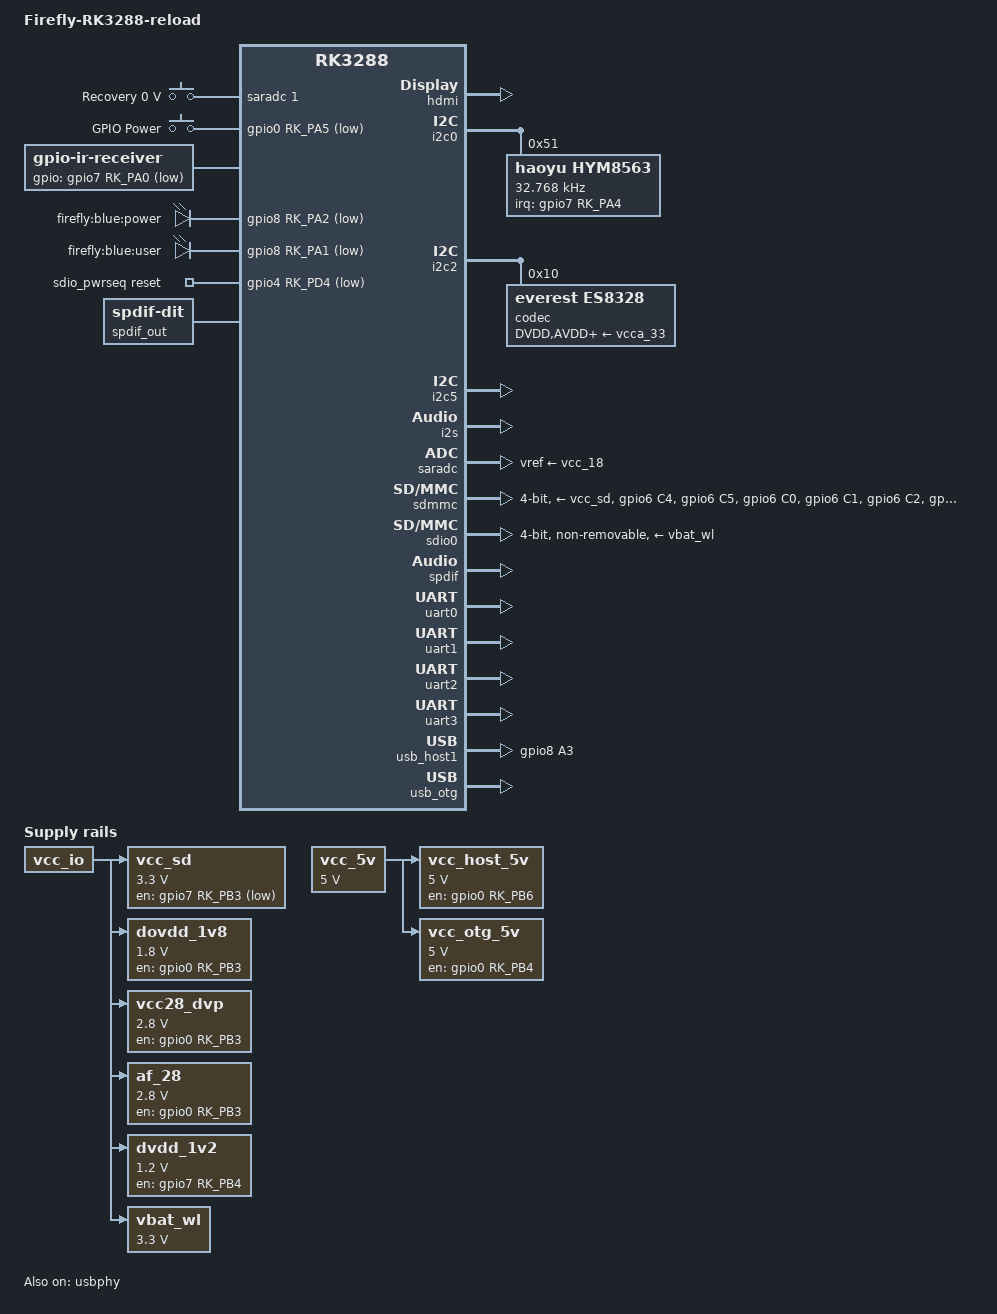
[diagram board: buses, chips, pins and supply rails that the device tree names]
// SPDX-License-Identifier: (GPL-2.0+ OR MIT)
/*
 * Device tree file for Firefly Rockchip RK3288 Core board
 * Copyright (c) 2016 Randy Li <ayaka@soulik.info>
 */

/dts-v1/;
#include "rk3288-firefly-reload-core.dtsi"

/ {
	model = "Firefly-RK3288-reload";
	compatible = "firefly,firefly-rk3288-reload", "rockchip,rk3288";

	adc-keys {
		compatible = "adc-keys";
		io-channels = <&saradc 1>;
		io-channel-names = "buttons";
		keyup-threshold-microvolt = <1800000>;

		button-recovery {
			label = "Recovery";
			linux,code = <KEY_VENDOR>;
			press-threshold-microvolt = <0>;
		};
	};

	gpio-keys {
		compatible = "gpio-keys";

		power {
			wakeup-source;
			gpios = <&gpio0 RK_PA5 GPIO_ACTIVE_LOW>;
			label = "GPIO Power";
			linux,code = <KEY_POWER>;
			pinctrl-names = "default";
			pinctrl-0 = <&pwr_key>;
		};
	};

	ir-receiver {
		compatible = "gpio-ir-receiver";
		gpios = <&gpio7 RK_PA0 GPIO_ACTIVE_LOW>;
	};

	leds {
		compatible = "gpio-leds";

		power {
			gpios = <&gpio8 RK_PA2 GPIO_ACTIVE_LOW>;
			label = "firefly:blue:power";
			pinctrl-names = "default";
			pinctrl-0 = <&power_led>;
			panic-indicator;
		};

		work {
			gpios = <&gpio8 RK_PA1 GPIO_ACTIVE_LOW>;
			label = "firefly:blue:user";
			linux,default-trigger = "rc-feedback";
			pinctrl-names = "default";
			pinctrl-0 = <&work_led>;
		};
	};

	sdio_pwrseq: sdio-pwrseq {
		compatible = "mmc-pwrseq-simple";
		clocks = <&hym8563>;
		clock-names = "ext_clock";
		pinctrl-names = "default";
		pinctrl-0 = <&wifi_enable>;
		reset-gpios = <&gpio4 RK_PD4 GPIO_ACTIVE_LOW>;
	};

	sound {
		compatible = "simple-audio-card";
		simple-audio-card,name = "SPDIF";
		simple-audio-card,dai-link@1 {  /* S/PDIF - S/PDIF */
			cpu { sound-dai = <&spdif>; };
			codec { sound-dai = <&spdif_out>; };
		};
	};

	spdif_out: spdif-out {
		compatible = "linux,spdif-dit";
		#sound-dai-cells = <0>;
	};

	vcc_host_5v: usb-host-regulator {
		compatible = "regulator-fixed";
		enable-active-high;
		gpio = <&gpio0 RK_PB6 GPIO_ACTIVE_HIGH>;
		pinctrl-names = "default";
		pinctrl-0 = <&host_vbus_drv>;
		regulator-name = "vcc_host_5v";
		regulator-min-microvolt = <5000000>;
		regulator-max-microvolt = <5000000>;
		regulator-always-on;
		vin-supply = <&vcc_5v>;
	};

	vcc_5v: vcc_sys: vsys-regulator {
		compatible = "regulator-fixed";
		regulator-name = "vcc_5v";
		regulator-min-microvolt = <5000000>;
		regulator-max-microvolt = <5000000>;
		regulator-always-on;
		regulator-boot-on;
	};

	vcc_sd: sdmmc-regulator {
		compatible = "regulator-fixed";
		gpio = <&gpio7 RK_PB3 GPIO_ACTIVE_LOW>;
		pinctrl-names = "default";
		pinctrl-0 = <&sdmmc_pwr>;
		regulator-name = "vcc_sd";
		regulator-min-microvolt = <3300000>;
		regulator-max-microvolt = <3300000>;
		startup-delay-us = <100000>;
		vin-supply = <&vcc_io>;
	};

	vcc_otg_5v: usb-otg-regulator {
		compatible = "regulator-fixed";
		enable-active-high;
		gpio = <&gpio0 RK_PB4 GPIO_ACTIVE_HIGH>;
		pinctrl-names = "default";
		pinctrl-0 = <&otg_vbus_drv>;
		regulator-name = "vcc_otg_5v";
		regulator-min-microvolt = <5000000>;
		regulator-max-microvolt = <5000000>;
		regulator-always-on;
		vin-supply = <&vcc_5v>;
	};

	dovdd_1v8: dovdd-1v8-regulator {
		compatible = "regulator-fixed";
		enable-active-high;
		gpio = <&gpio0 RK_PB3 GPIO_ACTIVE_HIGH>;
		pinctrl-names = "default";
		pinctrl-0 = <&dvp_pwr>;
		regulator-name = "dovdd_1v8";
		regulator-min-microvolt = <1800000>;
		regulator-max-microvolt = <1800000>;
		vin-supply = <&vcc_io>;
	};

	vcc28_dvp: vcc28-dvp-regulator {
		compatible = "regulator-fixed";
		enable-active-high;
		gpio = <&gpio0 RK_PB3 GPIO_ACTIVE_HIGH>;
		pinctrl-names = "default";
		pinctrl-0 = <&dvp_pwr>;
		regulator-name = "vcc28_dvp";
		regulator-min-microvolt = <2800000>;
		regulator-max-microvolt = <2800000>;
		vin-supply = <&vcc_io>;
	};

	af_28: af_28-regulator {
		compatible = "regulator-fixed";
		enable-active-high;
		gpio = <&gpio0 RK_PB3 GPIO_ACTIVE_HIGH>;
		pinctrl-names = "default";
		pinctrl-0 = <&dvp_pwr>;
		regulator-name = "af_28";
		regulator-min-microvolt = <2800000>;
		regulator-max-microvolt = <2800000>;
		vin-supply = <&vcc_io>;
	};

	dvdd_1v2: af_28-regulator {
		compatible = "regulator-fixed";
		enable-active-high;
		gpio = <&gpio7 RK_PB4 GPIO_ACTIVE_HIGH>;
		pinctrl-names = "default";
		pinctrl-0 = <&cif_pwr>;
		regulator-name = "dvdd_1v2";
		regulator-min-microvolt = <1200000>;
		regulator-max-microvolt = <1200000>;
		vin-supply = <&vcc_io>;
	};

	vbat_wl: wifi-regulator {
		compatible = "regulator-fixed";
		regulator-name = "vbat_wl";
		regulator-min-microvolt = <3300000>;
		regulator-max-microvolt = <3300000>;
		vin-supply = <&vcc_io>;
	};
};

&hdmi {
	ddc-i2c-bus = <&i2c5>;
	pinctrl-names = "default";
	pinctrl-0 = <&hdmi_cec_c0>;
	status = "okay";
};

&i2c0 {
	hym8563: hym8563@51 {
		compatible = "haoyu,hym8563";
		reg = <0x51>;
		#clock-cells = <0>;
		clock-frequency = <32768>;
		clock-output-names = "xin32k";
		interrupt-parent = <&gpio7>;
		interrupts = <RK_PA4 IRQ_TYPE_EDGE_FALLING>;
		pinctrl-names = "default";
		pinctrl-0 = <&rtc_int>;
	};
};

&i2c2 {
	status = "okay";

	codec: es8328@10 {
		compatible = "everest,es8328";
		DVDD-supply = <&vcca_33>;
		AVDD-supply = <&vcca_33>;
		PVDD-supply = <&vcca_33>;
		HPVDD-supply = <&vcca_33>;
		clocks = <&cru HCLK_I2S0>, <&cru SCLK_I2S0>;
		clock-names = "i2s_hclk", "i2s_clk";
		reg = <0x10>;
	};
};

&i2c5 {
	status = "okay";
};

&i2s {
	status = "okay";
};

&saradc {
	vref-supply = <&vcc_18>;
	status = "okay";
};

&sdmmc {
	bus-width = <4>;
	cap-mmc-highspeed;
	cap-sd-highspeed;
	card-detect-delay = <200>;
	disable-wp;
	pinctrl-names = "default";
	pinctrl-0 = <&sdmmc_clk>, <&sdmmc_cmd>, <&sdmmc_cd>, <&sdmmc_bus4>;
	vmmc-supply = <&vcc_sd>;
	vqmmc-supply = <&vccio_sd>;
	status = "okay";
};

&sdio0 {
	bus-width = <4>;
	cap-sd-highspeed;
	cap-sdio-irq;
	mmc-pwrseq = <&sdio_pwrseq>;
	non-removable;
	pinctrl-names = "default";
	pinctrl-0 = <&sdio0_bus4>, <&sdio0_cmd>, <&sdio0_clk>, <&sdio0_int>;
	sd-uhs-sdr12;
	sd-uhs-sdr25;
	sd-uhs-sdr50;
	sd-uhs-ddr50;
	vmmc-supply = <&vbat_wl>;
	vqmmc-supply = <&vccio_wl>;
	status = "okay";
};

&spdif {
	status = "okay";
};

&uart0 {
	pinctrl-names = "default";
	pinctrl-0 = <&uart0_xfer>, <&uart0_cts>, <&uart0_rts>;
	status = "okay";
};

&uart1 {
	status = "okay";
};

&uart2 {
	status = "okay";
};

&uart3 {
	status = "okay";
};

&usbphy {
	status = "okay";
};

&usb_host1 {
	pinctrl-names = "default";
	pinctrl-0 = <&usbhub_rst>;
	status = "okay";
};

&usb_otg {
	status = "okay";
};

&pinctrl {
	ir {
		ir_int: ir-int {
			rockchip,pins = <7 RK_PA0 RK_FUNC_GPIO &pcfg_pull_up>;
		};
	};

	dvp {
		dvp_pwr: dvp-pwr {
			rockchip,pins = <0 RK_PB3 RK_FUNC_GPIO &pcfg_pull_none>;
		};

		cif_pwr: cif-pwr {
			rockchip,pins = <7 RK_PB4 RK_FUNC_GPIO &pcfg_pull_none>;
		};
	};

	hym8563 {
		rtc_int: rtc-int {
			rockchip,pins = <7 RK_PA4 RK_FUNC_GPIO &pcfg_pull_up>;
		};
	};

	keys {
		pwr_key: pwr-key {
			rockchip,pins = <0 RK_PA5 RK_FUNC_GPIO &pcfg_pull_up>;
		};
	};

	leds {
		power_led: power-led {
			rockchip,pins = <8 RK_PA2 RK_FUNC_GPIO &pcfg_pull_none>;
		};

		work_led: work-led {
			rockchip,pins = <8 RK_PA1 RK_FUNC_GPIO &pcfg_pull_none>;
		};
	};

	sdmmc {
		/*
		 * Default drive strength isn't enough to achieve even
		 * high-speed mode on firefly board so bump up to 12ma.
		 */
		sdmmc_bus4: sdmmc-bus4 {
			rockchip,pins = <6 RK_PC0 1 &pcfg_pull_up_drv_12ma>,
					<6 RK_PC1 1 &pcfg_pull_up_drv_12ma>,
					<6 RK_PC2 1 &pcfg_pull_up_drv_12ma>,
					<6 RK_PC3 1 &pcfg_pull_up_drv_12ma>;
		};

		sdmmc_clk: sdmmc-clk {
			rockchip,pins = <6 RK_PC4 1 &pcfg_pull_none_12ma>;
		};

		sdmmc_cmd: sdmmc-cmd {
			rockchip,pins = <6 RK_PC5 1 &pcfg_pull_up_drv_12ma>;
		};

		sdmmc_pwr: sdmmc-pwr {
			rockchip,pins = <7 RK_PB3 RK_FUNC_GPIO &pcfg_pull_none>;
		};
	};

	sdio {
		wifi_enable: wifi-enable {
			rockchip,pins = <4 RK_PD4 RK_FUNC_GPIO &pcfg_pull_none>;
		};
	};

	usb_host {
		host_vbus_drv: host-vbus-drv {
			rockchip,pins = <0 RK_PB6 RK_FUNC_GPIO &pcfg_pull_none>;
		};

		usbhub_rst: usbhub-rst {
			rockchip,pins = <8 RK_PA3 RK_FUNC_GPIO &pcfg_output_high>;
		};
	};

	usb_otg {
		otg_vbus_drv: otg-vbus-drv {
			rockchip,pins = <0 RK_PB4 RK_FUNC_GPIO &pcfg_pull_none>;
		};
	};
};
